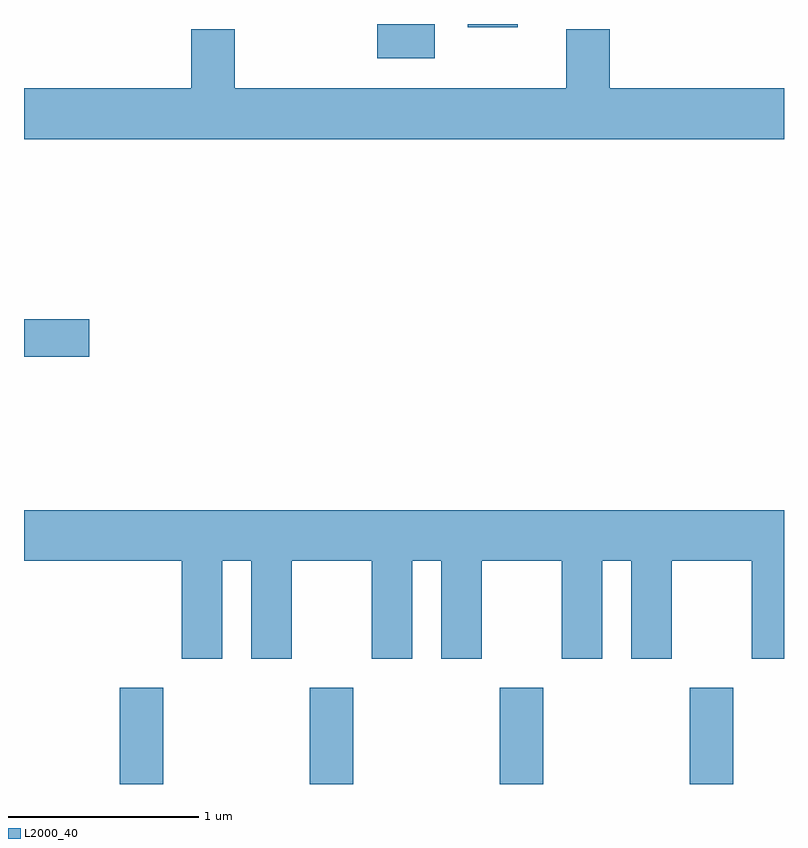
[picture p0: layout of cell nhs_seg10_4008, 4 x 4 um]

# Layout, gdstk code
import gdstk
lib = gdstk.Library(unit=1e-6, precision=1e-09)
def R(c, l, rs):  # rectangles x0, y0, x1, y1
    for r in rs: c.add(gdstk.rectangle(r[:2], r[2:], *l))
def A(c, l, x, y, w, h, nx, ny, dx, dy):  # array of equal rectangles
    R(c, l, [(x+i*dx, y+j*dy, x+i*dx+w, y+j*dy+h) for i in range(nx) for j in range(ny)])
def P(c, l, *ps):  # polygons
    for p in ps: c.add(gdstk.Polygon(p, *l))
L2000_40 = (2000, 40)

nhs_seg10_4008 = lib.new_cell('nhs_seg10_4008')
A(nhs_seg10_4008, L2000_40, 304.116, 2110.522, 0.228, 0.507, 4, 1, 1, 0)
R(nhs_seg10_4008, L2000_40, [(303.611,2112.771,303.954,2112.969), (305.471,2114.341,305.774,2114.522), (305.946,2114.506,306.209,2114.522)])
P(nhs_seg10_4008, L2000_40, [(307.611,2114.184),(306.694,2114.184),(306.694,2114.494),(306.466,2114.494),(306.466,2114.184),(304.719,2114.184),(304.719,2114.494),(304.491,2114.494),(304.491,2114.184),(303.611,2114.184),(303.611,2113.916),(307.611,2113.916)],
  [(304.654,2111.696),(304.806,2111.696),(304.806,2111.181),(305.019,2111.181),(305.019,2111.696),(305.441,2111.696),(305.441,2111.181),(305.654,2111.181),(305.654,2111.696),(305.806,2111.696),(305.806,2111.181),(306.019,2111.181),(306.019,2111.696),(306.441,2111.696),(306.441,2111.181),(306.654,2111.181),(306.654,2111.696),(306.806,2111.696),(306.806,2111.181),(307.019,2111.181),(307.019,2111.696),(307.441,2111.696),(307.441,2111.181),(307.611,2111.181),(307.611,2111.964),(303.611,2111.964),(303.611,2111.696),(304.441,2111.696),(304.441,2111.181),(304.654,2111.181)])

lib.write_gds('nhs_seg10_4008.gds')
